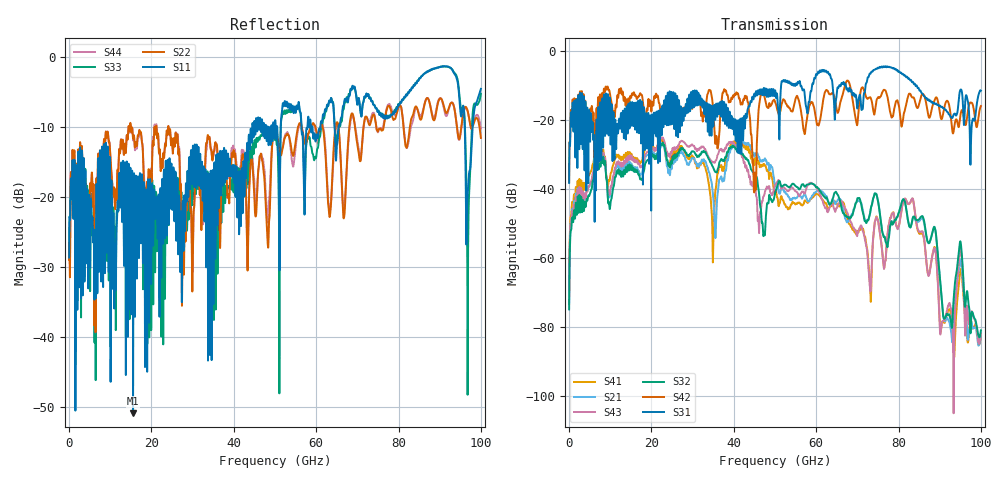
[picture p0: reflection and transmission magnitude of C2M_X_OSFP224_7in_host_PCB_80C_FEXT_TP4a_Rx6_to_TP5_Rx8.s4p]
# GHz S RI R 45
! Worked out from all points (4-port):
!   4000 points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, 25 MHz to 100 GHz, reference 45 ohm
!   strongest paths, dB at 25 MHz, 25.02 GHz, 50.02 GHz, 75.03 GHz, 100 GHz:
!     S31: -38.4, -15.7, -11.5, -5.0, -11.6
!     S42: -38.2, -18.7, -14.9, -13.6, -16.1
!     S32: -75.0, -32.0, -41.3, -43.7, -81.1
!     S43: -73.5, -29.0, -39.1, -49.5, -82.0
!     S21: -73.2, -33.0, -39.5, -43.6, -82.7
!     S41: -70.9, -30.2, -41.3, -49.2, -82.7
!   lowest |S11| = -50.8 dB at 15.55 GHz (marker M1), VSWR 1.01, Z = 45.1 + j0.253 ohm
!   |S11| at or under -10 dB: start of sweep to 44.48 GHz; 59.1 GHz to 61.02 GHz (1.918 GHz wide, 3.19 % of centre); 96.08 GHz to 98 GHz (1.927 GHz wide, 1.99 % of centre)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
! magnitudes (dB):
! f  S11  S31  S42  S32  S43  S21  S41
! 25 MHz  -28.6  -38.4  -38.2  -75.0  -73.5  -73.2  -70.9
! 15.55 GHz  -50.8  -20.4  -12.8  -34.1  -31.3  -33.6  -30.8
! 45.02 GHz  -9.2  -12.5  -40.6  -36.1  -39.6  -30.8  -33.1
! 46.9 GHz  -9.2  -11.3  -12.2  -49.9  -43.7  -32.2  -33.1
! 73.1 GHz  -5.8  -6.7  -13.5  -47.2  -69.2  -47.2  -68.0
! 83.25 GHz  -4.4  -9.1  -13.5  -49.8  -43.0  -49.9  -43.1
! 100 GHz  -4.6  -11.6  -16.1  -81.1  -82.0  -82.7  -82.7
